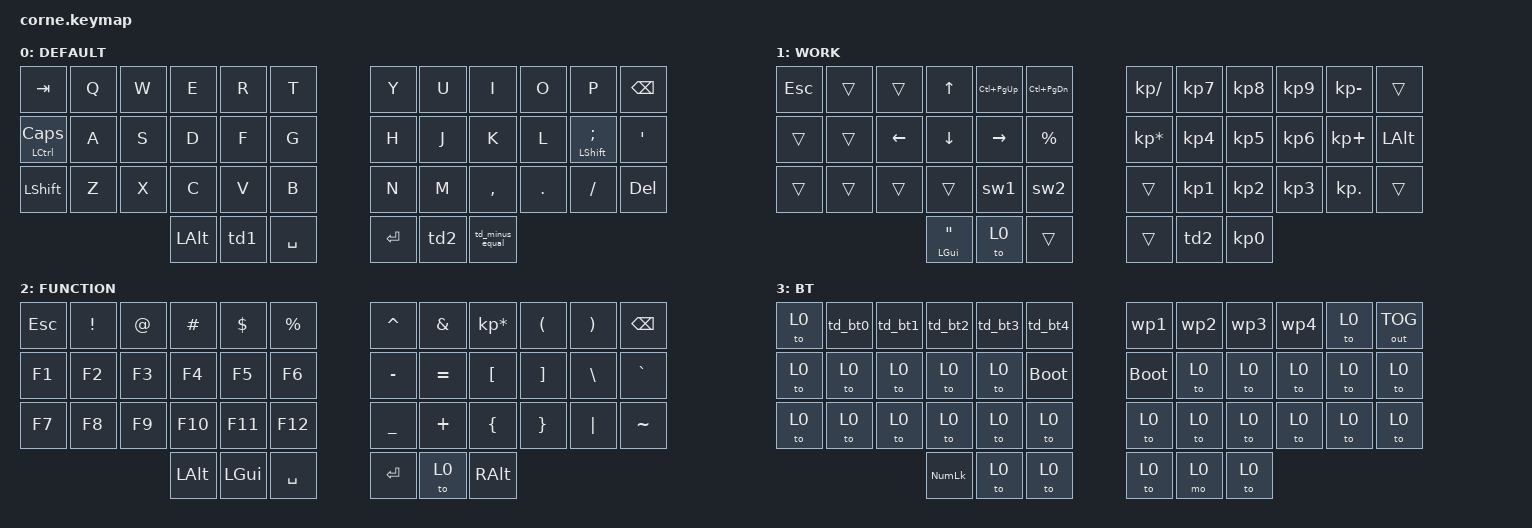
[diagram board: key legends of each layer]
/*
 * Copyright (c) 2020 The ZMK Contributors
 *
 * SPDX-License-Identifier: MIT
 */

#include <behaviors.dtsi>
#include <dt-bindings/zmk/bt.h>
#include <dt-bindings/zmk/keys.h>
#include <dt-bindings/zmk/outputs.h>

/ {
    macros {
        wp1: wp1 {
            compatible = "zmk,behavior-macro";
            #binding-cells = <0>;
            bindings = <&none &kp N1 &kp N1 &kp N2 &kp N7>;
            label = "WP1";
        };

        wp2: wp2 {
            compatible = "zmk,behavior-macro";
            #binding-cells = <0>;
            bindings = <&none &kp LS(J) &kp LS(T) &kp LS(B) &kp I &kp R &kp C &kp H &kp W &kp O &kp D &kp DLLR &kp N2 &kp RET>;
            label = "WP2";
        };

        wp3: wp3 {
            compatible = "zmk,behavior-macro";
            #binding-cells = <0>;
            bindings = <&none &kp J &kp O &kp N &kp A &kp T &kp H &kp A &kp N &kp DOT &kp T &kp A &kp N &kp G &kp N2>;
            label = "WP3";
        };

        wp4: wp4 {
            compatible = "zmk,behavior-macro";
            #binding-cells = <0>;
            bindings = <&none &kp LS(I) &kp N &kp T &kp E &kp N &kp DLLR &kp J &kp T &kp N1 &kp RET>;
            label = "WP4";
        };

        sw1: sw1 {
            compatible = "zmk,behavior-macro";
            #binding-cells = <0>;
            bindings = <&none &kp SPACE &kp PIPE &kp SPACE>;
            label = "SW1";
        };

        sw2: sw2 {
            compatible = "zmk,behavior-macro";
            #binding-cells = <0>;
            bindings = <&none &kp SPACE &kp MINUS &kp SPACE>;
            label = "SW2";
        };
    };

    behaviors {
        td1: td1 {
            compatible = "zmk,behavior-tap-dance";
            label = "TD1";
            #binding-cells = <0>;
            bindings = <&mo 1>, <&to 1>;

            tapping-term-ms = <250>;
        };

        td2: td2 {
            compatible = "zmk,behavior-tap-dance";
            label = "TD2";
            #binding-cells = <0>;
            bindings = <&mo 2>, <&mo 3>;

            tapping-term-ms = <250>;
        };

        td_bt0: td_bt0 {
            compatible = "zmk,behavior-tap-dance";
            label = "TD_BT0";
            #binding-cells = <0>;
            bindings = <&bt BT_SEL 0>, <&bt BT_CLR>;
        };

        td_bt1: td_bt1 {
            compatible = "zmk,behavior-tap-dance";
            label = "TD_BT1";
            #binding-cells = <0>;
            bindings = <&bt BT_SEL 1>, <&bt BT_CLR>;
        };

        td_bt2: td_bt2 {
            compatible = "zmk,behavior-tap-dance";
            label = "TD_BT2";
            #binding-cells = <0>;
            bindings = <&bt BT_SEL 2>, <&bt BT_CLR>;
        };

        td_bt3: td_bt3 {
            compatible = "zmk,behavior-tap-dance";
            label = "TD_BT3";
            #binding-cells = <0>;
            bindings = <&bt BT_SEL 3>, <&bt BT_CLR>;
        };

        td_bt4: td_bt4 {
            compatible = "zmk,behavior-tap-dance";
            label = "TD_BT4";
            #binding-cells = <0>;
            bindings = <&bt BT_SEL 4>, <&bt BT_CLR>;
        };

        td_minus_equal: td_minus_equal {
            compatible = "zmk,behavior-tap-dance";
            label = "TD_MINUS_EQUAL";
            #binding-cells = <0>;
            bindings = <&kp MINUS>, <&kp EQUAL>;
        };
    };

    keymap {
        compatible = "zmk,keymap";

        DEFAULT {
            // -----------------------------------------------------------------------------------------
            // |  TAB |  Q  |  W  |  E  |  R  |  T  |   |  Y  |  U   |  I  |  O  |  P  | BKSP |
            // | CTRL |  A  |  S  |  D  |  F  |  G  |   |  H  |  J   |  K  |  L  |  ;  |  '   |
            // | SHFT |  Z  |  X  |  C  |  V  |  B  |   |  N  |  M   |  ,  |  .  |  /  | ESC  |
            //                    | GUI | LWR | SPC |   | ENT | RSE  | ALT |

            display-name = "DEFAULT";
            bindings = <
&kp TAB             &kp Q  &kp W  &kp E         &kp R  &kp T        &kp Y    &kp U  &kp I            &kp O    &kp P                     &kp BSPC
&mt LCTRL CAPSLOCK  &kp A  &kp S  &kp D         &kp F  &kp G        &kp H    &kp J  &kp K            &kp L    &mt LEFT_SHIFT SEMICOLON  &kp SQT
&kp LSHFT           &kp Z  &kp X  &kp C         &kp V  &kp B        &kp N    &kp M  &kp COMMA        &kp DOT  &kp FSLH                  &kp DEL
                                  &kp LEFT_ALT  &td1   &kp SPACE    &kp RET  &td2   &td_minus_equal
            >;
        };

        WORK {
            // -----------------------------------------------------------------------------------------
            // |  TAB |  1  |  2  |  3  |  4  |  5  |   |  6  |  7  |  8  |  9  |  0  | BKSP |
            // | BTCLR| BT1 | BT2 | BT3 | BT4 | BT5 |   | LFT | DWN |  UP | RGT |     |      |
            // | SHFT |     |     |     |     |     |   |     |     |     |     |     |      |
            //                    | GUI |     | SPC |   | ENT |     | ALT |

            display-name = "WORK";
            bindings = <
&kp ESC  &trans  &trans    &kp UP_ARROW                &kp LC(PG_UP)  &kp LC(PG_DN)    &kp KP_SLASH     &kp KP_NUMBER_7  &kp KP_N8  &kp KP_N9  &kp KP_MINUS  &trans
&trans   &trans  &kp LEFT  &kp DOWN                    &kp RIGHT      &kp PERCENT      &kp KP_MULTIPLY  &kp KP_N4        &kp KP_N5  &kp KP_N6  &kp KP_PLUS   &kp LEFT_ALT
&trans   &trans  &trans    &trans                      &sw1           &sw2             &trans           &kp KP_N1        &kp KP_N2  &kp KP_N3  &kp KP_DOT    &trans
                           &mt LEFT_GUI DOUBLE_QUOTES  &to 0          &trans           &trans           &td2             &kp KP_N0
            >;
        };

        FUNCTION {
            // -----------------------------------------------------------------------------------------
            // |  TAB |  !  |  @  |  #  |  $  |  %  |   |  ^  |  &  |  *  |  (  |  )  | BKSP |
            // | CTRL |     |     |     |     |     |   |  -  |  =  |  [  |  ]  |  \  |  `   |
            // | SHFT |     |     |     |     |     |   |  _  |  +  |  {  |  }  | "|" |  ~   |
            //                    | GUI |     | SPC |   | ENT |     | ALT |

            display-name = "FUNCTION";
            bindings = <
&kp ESC  &kp EXCL  &kp AT  &kp HASH  &kp DLLR      &kp PRCNT    &kp CARET  &kp AMPS   &kp KP_MULTIPLY  &kp LPAR  &kp RPAR  &kp BSPC
&kp F1   &kp F2    &kp F3  &kp F4    &kp F5        &kp F6       &kp MINUS  &kp EQUAL  &kp LBKT         &kp RBKT  &kp BSLH  &kp GRAVE
&kp F7   &kp F8    &kp F9  &kp F10   &kp F11       &kp F12      &kp UNDER  &kp PLUS   &kp LBRC         &kp RBRC  &kp PIPE  &kp TILDE
                           &kp LALT  &kp LEFT_GUI  &kp SPACE    &kp RET    &to 0      &kp RIGHT_ALT
            >;
        };

        BT {
            bindings = <
&to 0  &td_bt0  &td_bt1  &td_bt2     &td_bt3  &td_bt4        &wp1         &wp2   &wp3   &wp4   &to 0  &out OUT_TOG
&to 0  &to 0    &to 0    &to 0       &to 0    &bootloader    &bootloader  &to 0  &to 0  &to 0  &to 0  &to 0
&to 0  &to 0    &to 0    &to 0       &to 0    &to 0          &to 0        &to 0  &to 0  &to 0  &to 0  &to 0
                         &kp KP_NUM  &to 0    &to 0          &to 0        &mo 0  &to 0
            >;
        };
    };
};
